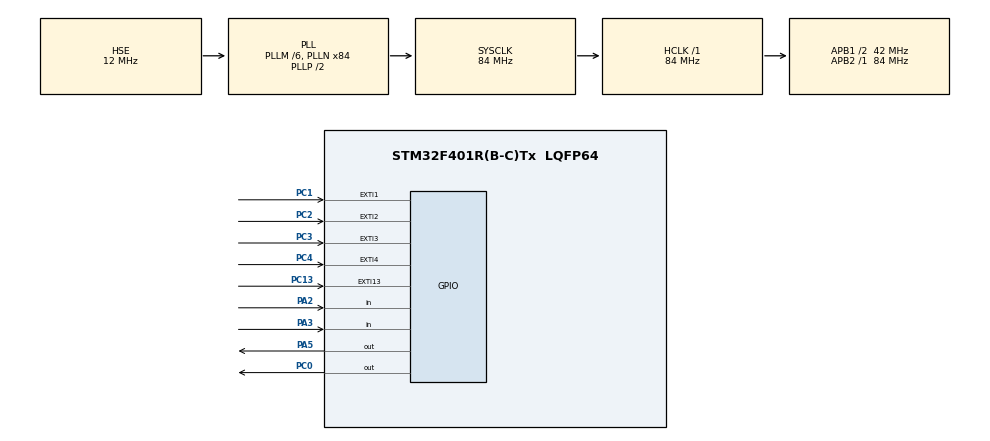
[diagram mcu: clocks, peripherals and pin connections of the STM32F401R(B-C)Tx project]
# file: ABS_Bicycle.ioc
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Mcu.Family=STM32F4
Mcu.Name=STM32F401R(B-C)Tx
Mcu.Package=LQFP64
NVIC.EXTI15_10_IRQn=true\:0\:0\:false\:false\:true\:true\:true\:true
NVIC.EXTI3_IRQn=true\:0\:0\:false\:false\:true\:true\:true\:true
NVIC.EXTI4_IRQn=true\:0\:0\:false\:false\:true\:true\:true\:true
NVIC.PriorityGroup=NVIC_PRIORITYGROUP_4
PA2.Signal=GPIO_Input
PA3.Signal=GPIO_Input
PA5.Signal=GPIO_Output
PC0.Signal=GPIO_Output
PC1.Signal=GPXTI1
PC13-ANTI_TAMP.GPIO_ModeDefaultEXTI=GPIO_MODE_IT_FALLING
PC13-ANTI_TAMP.Signal=GPXTI13
PC2.GPIO_ModeDefaultEXTI=GPIO_MODE_IT_RISING
PC2.Signal=GPXTI2
PC3.GPIO_ModeDefaultEXTI=GPIO_MODE_IT_RISING
PC3.Signal=GPXTI3
PC4.Signal=GPXTI4
PH0\ -\ OSC_IN.Mode=HSE-External-Oscillator
PH0\ -\ OSC_IN.Signal=RCC_OSC_IN
PH1\ -\ OSC_OUT.Mode=HSE-External-Oscillator
PH1\ -\ OSC_OUT.Signal=RCC_OSC_OUT
ProjectManager.HeapSize=0x200
ProjectManager.StackSize=0x400
ProjectManager.TargetToolchain=STM32CubeIDE
RCC.48MHZClocksFreq_Value=42000000
RCC.AHBFreq_Value=84000000
RCC.APB1CLKDivider=RCC_HCLK_DIV2
RCC.APB1Freq_Value=42000000
RCC.APB1TimFreq_Value=84000000
RCC.APB2Freq_Value=84000000
RCC.APB2TimFreq_Value=84000000
RCC.CortexFreq_Value=84000000
RCC.HCLKFreq_Value=84000000
RCC.HSE_VALUE=12000000
RCC.HSI_VALUE=16000000
RCC.LSE_VALUE=32768
RCC.PLLM=6
RCC.PLLN=84
RCC.PLLSourceVirtual=RCC_PLLSOURCE_HSE
RCC.SYSCLKFreq_VALUE=84000000
RCC.SYSCLKSource=RCC_SYSCLKSOURCE_PLLCLK
RCC.VCOOutputFreq_Value=168000000
board=custom

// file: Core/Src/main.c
/* USER CODE BEGIN Header */
/**
  ******************************************************************************
  * @file           : main.c
  * @brief          : Main program body
  ******************************************************************************
  * @attention
  *
  * Copyright (c) 2024 STMicroelectronics.
  * All rights reserved.
  *
  * This software is licensed under terms that can be found in the LICENSE file
  * in the root directory of this software component.
  * If no LICENSE file comes with this software, it is provided AS-IS.
  *
  ******************************************************************************
  */
/* USER CODE END Header */
#include "main.h"

/* USER CODE BEGIN Includes */
#include "stdio.h"
#include <stdbool.h>
#include "rtw_continuous.h"
#include "rtw_solver.h"
#include "rtwtypes.h"
#include "BrakeSimProto.h"

/* USER CODE END Includes */

/* USER CODE BEGIN PTD */
//GPIO_InitTypeDef GPIO_SensInitStruct;
//GPIO_SensInitStruct.Pin = GPIO_PIN_x;

/* USER CODE END PTD */

/* USER CODE BEGIN PV */

//Velocity Sensing variables
volatile float wheel_speed = 0;
volatile float vehicle_speed = 0;

float t1 = 0;
float t2 = 0;
float delta_t1 = 1;
float delta_t2 = 1;

float t1_ = 0;
float t2_ = 0;
float delta_t1_ = 1;
float delta_t2_ = 1;

float rad = 0.2618; //(Guess) This will, of course, need to get set later once measured

float IIR_alpha = 0.5; //Get rid of the reentrant IIR if you need more tuning

//PWM variables
float edge = 0; //this is the old value of controller_out

//Controller variables
float slp_rto = 0.2; //Shouldn't be changed just yet, but will for differential braking
int controller_out = 0; //collection variable for the simulink model output

float tol = 2500.0;
float counter_check = 0;
bool brake_pressed = 0;
uint8_t mode = 0;
uint8_t count=0;
uint8_t count2 =0;
uint8_t count3 = 0;

/* USER CODE END PV */

void SystemClock_Config(void);
static void MX_GPIO_Init(void);
/* USER CODE BEGIN PFP */
//float IIR(float input, float old); //First-order IIR filter

/* USER CODE END PFP */

/* USER CODE BEGIN 0 */

//First-Order IIR Filter (for velocity filtering)
float IIR(float input, float old) {
	return (1-IIR_alpha)*old + IIR_alpha*input;
}

//Timing Function
void delta(float* delta_t, float* t) {
//	HAL_Delay(1);
	float temp_t = HAL_GetTick();
	*delta_t = temp_t - *t;
	*t = temp_t;
}

void HAL_GPIO_EXTI_Callback(uint16_t GPIO_Pin) {
//	HAL_GPIO_WritePin(GPIOA, GPIO_PIN_5, GPIO_PIN_SET);
	if (GPIO_Pin == GPIO_PIN_13){
		mode = mode + 1;
		count++ ;
	}
	if (mode > 3)
		mode = 0;

	if (GPIO_Pin == GPIO_PIN_4){
		delta(&delta_t1,&t1);
//		wheel_speed = IIR(rad/delta_t1,wheel_speed);
//		wheel_speed = 30/delta_t1;

		// float tmp = HAL_GetTick();
		// delta_t1 = tmp - t1;
		// t1 = tmp;
//		wheel_speed = 30/delta_t1;
		wheel_speed = IIR(rad/delta_t1,wheel_speed);
		count2++;
	}

	if (GPIO_Pin == GPIO_PIN_3){
		delta(&delta_t2,&t2);
//		vehicle_speed = IIR(rad/delta_t2,vehicle_speed);
//		vehicle_speed = 30/delta_t2;
		// float tmp1 = HAL_GetTick();
		// delta_t2 = tmp1 - t2;
		// t2 = tmp1;
//		vehicle_speed = 30/delta_t2;
		vehicle_speed = IIR(rad/delta_t2,vehicle_speed);
		count3++ ;
	}
//	HAL_Delay(10);
//	HAL_GPIO_WritePin(GPIOA, GPIO_PIN_5, GPIO_PIN_RESET);
}

//This function should be called every time controller_out changes
//This function should write to the proper GPIO pins for the right duration
//Input: Step Direction (1 for actuating brakes on | -1 for actuating brakes off)
//Output: Finite length PWM with the appropriate length to actuate brakes on or off
void PWM(int dir) {
  //write a function here that can generate the PWM (might have to read motor driver documentation)
  //ENABLE Output
  //dmode Output
  //dir Output
  //PWM Output
}

//This function should get called when delta_t becomes very large (give it a tolerance)
//something like 2-3 secs, also GetTick is updated every 1ms, so it should be in units of ms.
void ForceBrakesOn() {
	//make this function set the brake variable to high
	//so that the brakes will just be hard turned on
	controller_out = 1;
}

//int _write(int file, char *ptr, int len)
//{
//  /* Implement your write code here, this is used by puts and printf for example */
//  int i=0;
//  for(i=0 ; i<len ; i++)
//    ITM_SendChar((*ptr++));
//  return len;
//}

/* USER CODE END 0 */

int main(void)
{

  /* USER CODE BEGIN 1 */

	//Put initializations here
	//Like turning on I/O, resetting any counters, etc

  /* USER CODE END 1 */

  /* MCU Configuration--------------------------------------------------------*/

  /* Reset of all peripherals, Initializes the Flash interface and the Systick. */
  HAL_Init();

  /* USER CODE BEGIN Init */
  BrakeSimProto_initialize();
  /* USER CODE END Init */

  /* Configure the system clock */
  SystemClock_Config();

  /* Initialize all configured peripherals */
  MX_GPIO_Init();

  /* Infinite loop */
  while (1)
  {

    /* USER CODE BEGIN 3 */
//	  brake_pressed = HAL_GPIO_ReadPin(GPIOC, GPIO_PIN_3);
//	  rtU._w = HAL_GPIO_ReadPin(GPIOA, GPIO_PIN_3);
//	  vehicle_speed = IIR(rad/delta_t2,vehicle_speed);
//	  rtU._w = HAL_GPIO_ReadPin(GPIOA, GPIO_PIN_3);
//	  vehicle_speed = IIR(rad/delta_t2,vehicle_speed);
//	  rtU._w = wheel_speed;
//	  rtU._v = HAL_GPIO_ReadPin(GPIOA, GPIO_PIN_2);
//	  rtU._v = vehicle_speed;
//	  rtU._v = 10;
//	  rtU._w = 10;

	  rtU._v = vehicle_speed;
	  rtU._w = wheel_speed;
	  rtU.DesiredRelativeSlip = slp_rto; //This may change depending on if we use a pot or not to input the slip ratio
	  BrakeSimProto_step();
//	  HAL_Delay(1000);
	  controller_out = rtY.MotorInput;

	  //Forcing the brakes on if no detection within 2.5 seconds (they should be hard on)
	  counter_check = HAL_GetTick();
//	  if ((counter_check - t1) >= tol || (counter_check - t2) >= tol)
//		  ForceBrakesOn();

	  //Still need to measure the magnets to get a good rad measurement

//	  rtU._w = HAL_GPIO_ReadPin(GPIOC, GPIO_PIN_3);
//	  rtU._v = HAL_GPIO_ReadPin(GPIOC, GPIO_PIN_2);

	  if (HAL_GPIO_ReadPin(GPIOC, GPIO_PIN_3) == GPIO_PIN_SET){
	  	  		  HAL_GPIO_WritePin(GPIOA, GPIO_PIN_5, GPIO_PIN_SET);
	  }
	  else{
		  HAL_GPIO_WritePin(GPIOA, GPIO_PIN_5, GPIO_PIN_RESET);
	  }

//	  if (mode == 0)
//	  		  HAL_GPIO_WritePin(GPIOA, GPIO_PIN_5, GPIO_PIN_RESET);
//	  	  else if (mode == 1)
//	  		  HAL_GPIO_WritePin(GPIOA, GPIO_PIN_5, GPIO_PIN_SET);
//	  	  else if (mode == 2)
//	  	  {
//	  		  HAL_GPIO_WritePin(GPIOA, GPIO_PIN_5, GPIO_PIN_SET);
//	  		  HAL_Delay(50);
//	  		  HAL_GPIO_WritePin(GPIOA, GPIO_PIN_5, GPIO_PIN_RESET);
//	  		  HAL_Delay(50);
//	  	  }
//	  	  else if (mode == 3)
//	  	  	  {
//	  	  		  HAL_GPIO_WritePin(GPIOA, GPIO_PIN_5, GPIO_PIN_SET);
//	  	  		  HAL_Delay(200);
//	  	  		  HAL_GPIO_WritePin(GPIOA, GPIO_PIN_5, GPIO_PIN_RESET);
//	  	  		  HAL_Delay(200);
//	  	  	  }

//// !!! To-Do (Leon) !!!
// if (controller_out != edge) {
//   PWM(controller_out); //To-Do
//   edge = controller_out;
// }

// 	  if (controller_out == 1){
// 	  		  HAL_GPIO_WritePin(GPIOA, GPIO_PIN_5, GPIO_PIN_SET);
// 	  }
// 	  else{
// 	  		  HAL_GPIO_WritePin(GPIOA, GPIO_PIN_5, GPIO_PIN_RESET);
// //	  		  HAL_GPIO_WritePin(GPIOA, GPIO_PIN_5, GPIO_PIN_RESET);
// 	  }

//	  count++;
//	  printf("hello world count is %d \n", count);
//	  HAL_Delay(250);
	  //later, make the signals send into the generated matlab code
	  //(figure out the best way to implement the interfacing between here and MATLAB stuff)

	  //Make sure the output of the controller gets sent to the PWM generator

	  //PWM generator

	  //You also need to find some way to deal with the data acquisition you planned on.
  }
  /* USER CODE END 3 */
}

void SystemClock_Config(void)
{
  RCC_OscInitTypeDef RCC_OscInitStruct = {0};
  RCC_ClkInitTypeDef RCC_ClkInitStruct = {0};

  /** Configure the main internal regulator output voltage
  */
  __HAL_RCC_PWR_CLK_ENABLE();
  __HAL_PWR_VOLTAGESCALING_CONFIG(PWR_REGULATOR_VOLTAGE_SCALE2);

  /** Initializes the RCC Oscillators according to the specified parameters
  * in the RCC_OscInitTypeDef structure.
  */
  RCC_OscInitStruct.OscillatorType = RCC_OSCILLATORTYPE_HSE;
  RCC_OscInitStruct.HSEState = RCC_HSE_ON;
  RCC_OscInitStruct.PLL.PLLState = RCC_PLL_ON;
  RCC_OscInitStruct.PLL.PLLSource = RCC_PLLSOURCE_HSE;
  RCC_OscInitStruct.PLL.PLLM = 6;
  RCC_OscInitStruct.PLL.PLLN = 84;
  RCC_OscInitStruct.PLL.PLLP = RCC_PLLP_DIV2;
  RCC_OscInitStruct.PLL.PLLQ = 4;
  if (HAL_RCC_OscConfig(&RCC_OscInitStruct) != HAL_OK)
  {
    Error_Handler();
  }

  /** Initializes the CPU, AHB and APB buses clocks
  */
  RCC_ClkInitStruct.ClockType = RCC_CLOCKTYPE_HCLK|RCC_CLOCKTYPE_SYSCLK
                              |RCC_CLOCKTYPE_PCLK1|RCC_CLOCKTYPE_PCLK2;
  RCC_ClkInitStruct.SYSCLKSource = RCC_SYSCLKSOURCE_PLLCLK;
  RCC_ClkInitStruct.AHBCLKDivider = RCC_SYSCLK_DIV1;
  RCC_ClkInitStruct.APB1CLKDivider = RCC_HCLK_DIV2;
  RCC_ClkInitStruct.APB2CLKDivider = RCC_HCLK_DIV1;

  if (HAL_RCC_ClockConfig(&RCC_ClkInitStruct, FLASH_LATENCY_2) != HAL_OK)
  {
    Error_Handler();
  }
}

static void MX_GPIO_Init(void)
{
  GPIO_InitTypeDef GPIO_InitStruct = {0};

  /* GPIO Ports Clock Enable */
  __HAL_RCC_GPIOC_CLK_ENABLE();
  __HAL_RCC_GPIOH_CLK_ENABLE();
  __HAL_RCC_GPIOA_CLK_ENABLE();

  /*Configure GPIO pin Output Level */
  HAL_GPIO_WritePin(GPIOC, GPIO_PIN_0, GPIO_PIN_RESET);

  /*Configure GPIO pin Output Level */
  HAL_GPIO_WritePin(GPIOA, GPIO_PIN_5, GPIO_PIN_RESET);

  /*Configure GPIO pin : PC13 */
  GPIO_InitStruct.Pin = GPIO_PIN_13;
  GPIO_InitStruct.Mode = GPIO_MODE_IT_FALLING;
  GPIO_InitStruct.Pull = GPIO_NOPULL;
  HAL_GPIO_Init(GPIOC, &GPIO_InitStruct);

  /*Configure GPIO pin : PC0 */
  GPIO_InitStruct.Pin = GPIO_PIN_0;
  GPIO_InitStruct.Mode = GPIO_MODE_OUTPUT_PP;
  GPIO_InitStruct.Pull = GPIO_NOPULL;
  GPIO_InitStruct.Speed = GPIO_SPEED_FREQ_LOW;
  HAL_GPIO_Init(GPIOC, &GPIO_InitStruct);

  /*Configure GPIO pins : PC1 PC2 PC3 PC4 */
  GPIO_InitStruct.Pin = GPIO_PIN_1|GPIO_PIN_2|GPIO_PIN_3|GPIO_PIN_4;
  GPIO_InitStruct.Mode = GPIO_MODE_IT_RISING;
  GPIO_InitStruct.Pull = GPIO_NOPULL;
  HAL_GPIO_Init(GPIOC, &GPIO_InitStruct);

  /*Configure GPIO pins : PA2 PA3 */
  GPIO_InitStruct.Pin = GPIO_PIN_2|GPIO_PIN_3;
  GPIO_InitStruct.Mode = GPIO_MODE_INPUT;
  GPIO_InitStruct.Pull = GPIO_NOPULL;
  HAL_GPIO_Init(GPIOA, &GPIO_InitStruct);

  /*Configure GPIO pin : PA5 */
  GPIO_InitStruct.Pin = GPIO_PIN_5;
  GPIO_InitStruct.Mode = GPIO_MODE_OUTPUT_PP;
  GPIO_InitStruct.Pull = GPIO_NOPULL;
  GPIO_InitStruct.Speed = GPIO_SPEED_FREQ_LOW;
  HAL_GPIO_Init(GPIOA, &GPIO_InitStruct);

  /* EXTI interrupt init*/
  HAL_NVIC_SetPriority(EXTI3_IRQn, 0, 0);
  HAL_NVIC_EnableIRQ(EXTI3_IRQn);

  HAL_NVIC_SetPriority(EXTI4_IRQn, 0, 0);
  HAL_NVIC_EnableIRQ(EXTI4_IRQn);

  HAL_NVIC_SetPriority(EXTI15_10_IRQn, 0, 0);
  HAL_NVIC_EnableIRQ(EXTI15_10_IRQn);

}

/* USER CODE BEGIN 4 */
int _write(int file, char *ptr, int len)
{
  /* Implement your write code here, this is used by puts and printf for example */
  int i=0;
  for(i=0 ; i<len ; i++)
    ITM_SendChar((*ptr++));
  return len;
}
/* USER CODE END 4 */

void Error_Handler(void)
{
  __disable_irq();
  while (1)
  {
  }
}
